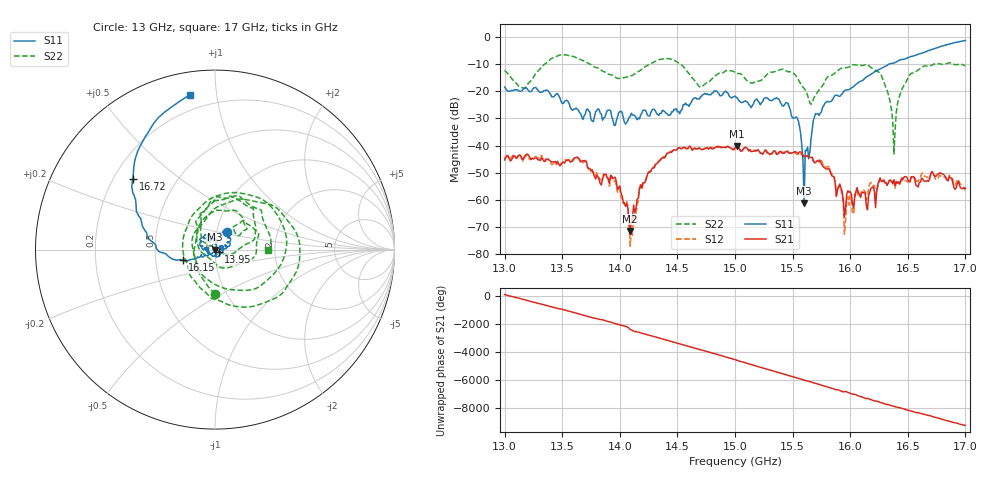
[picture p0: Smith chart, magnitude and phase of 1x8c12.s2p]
!Keysight Technologies,P9374A,MY57211807,A.19.30.04
!Date: Friday, May 08, 2026 15:08:51
!Correction: S11(C  2-Port  )
!S21(C  2-Port  )
!S12(C  2-Port  )
!S22(C  2-Port  )
!S2P File: Measurements: S11, S21, S12, S22:
# Hz S  dB  R 50
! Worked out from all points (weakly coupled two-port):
!   401 points, 13 GHz to 17 GHz, reference 50 ohm
!   highest |S21| = -40.16 dB at 15.02 GHz (marker M1); lowest = -71.6 dB at 14.09 GHz (marker M2)
!   lowest |S11| = -61.4 dB at 15.6 GHz (marker M3), VSWR 1.00, Z = 49.9 - j0.000918 ohm
!   |S11| at or under -10 dB: start of sweep to 16.33 GHz
!   |S22| runs from -43.1 to -6.5 dB; largest |S21 - S12| = 0.00093
!   S11 on the Smith chart (normalised r, x): 13 GHz: 1.12, +0.23; 13.95 GHz: 1.04, -0.03; 16.15 GHz: 0.69, -0.09; 16.72 GHz: 0.28, +0.35; 17 GHz: 0.12, +0.85
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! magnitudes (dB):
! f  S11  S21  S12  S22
! 13 GHz  -18.4  -45.3  -44.8  -12.2
! 13.16 GHz  -19.3  -45.3  -45.7  -18.8
! 13.42 GHz  -22.0  -46.0  -46.8  -7.6
! 13.67 GHz  -29.4  -45.7  -46.1  -8.4
! 13.95 GHz  -32.5  -52.0  -53.0  -14.4
! 14.09 GHz  -29.3  -71.6  -77.2  -14.3
! 14.34 GHz  -28.9  -45.8  -45.6  -8.3
! 14.7 GHz  -22.0  -41.2  -41.2  -18.4
! 15 GHz  -21.7  -40.8  -41.1  -12.9
! 15.02 GHz  -22.5  -40.2  -40.3  -13.4
! 15.46 GHz  -24.4  -42.5  -42.0  -12.7
! 15.55 GHz  -30.9  -42.9  -43.3  -15.7
! 15.6 GHz  -61.4  -43.9  -43.9  -18.9
! 15.67 GHz  -34.0  -44.3  -44.3  -24.2
! 15.83 GHz  -23.8  -50.3  -49.8  -14.2
! 15.95 GHz  -19.7  -66.4  -72.8  -11.3
! 16.15 GHz  -14.4  -63.8  -59.2  -10.2
! 16.34 GHz  -9.9  -52.9  -52.9  -22.6
! 16.38 GHz  -9.5  -52.6  -52.4  -43.1
! 16.51 GHz  -7.3  -53.4  -54.1  -14.3
! 16.72 GHz  -4.4  -50.2  -50.7  -10.0
! 17 GHz  -1.2  -55.8  -56.5  -10.6
